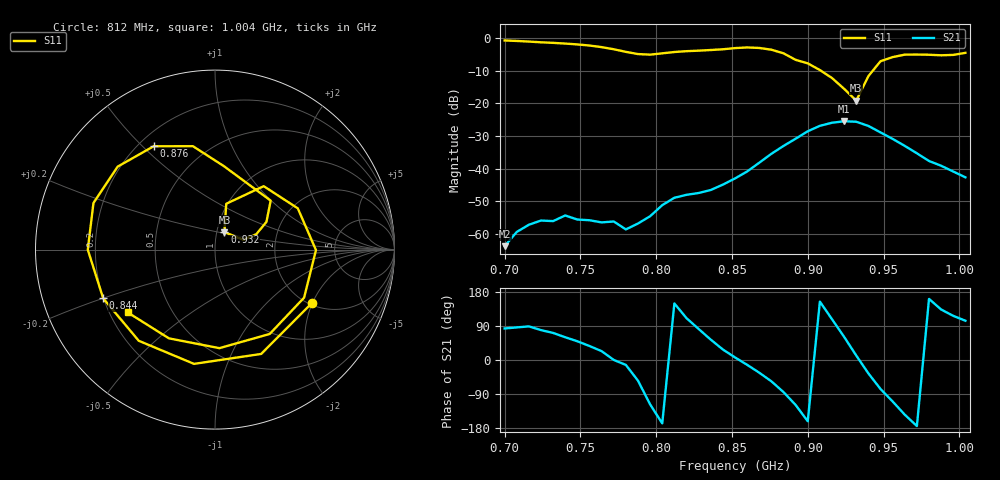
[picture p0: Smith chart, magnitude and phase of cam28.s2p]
# Hz S RI R 50
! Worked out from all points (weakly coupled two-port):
!   39 points, 700 MHz to 1.004 GHz, reference 50 ohm
!   highest |S21| = -25.47 dB at 924 MHz (marker M1); lowest = -63.9 dB at 700 MHz (marker M2)
!   lowest |S11| = -19.1 dB at 932 MHz (marker M3), VSWR 1.25, Z = 54.4 + j10.7 ohm
!   |S11| at or under -10 dB: 908.8 MHz to 942.8 MHz (33.95 MHz wide, 3.67 % of centre)
!   S12 and S22 are empty: the file has one direction only
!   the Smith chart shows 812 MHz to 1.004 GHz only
!   S11 on the Smith chart (normalised r, x): 812 MHz: 2.08, -1.99; 844 MHz: 0.20, -0.20; 876 MHz: 0.26, +0.54; 932 MHz: 1.09, +0.21; 1.004 GHz: 0.27, -0.30
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7e8  0.7645 0.5273  7.54e-05 0.000637  0 0  0 0
7.24e8  0.8316 -0.256  0.000306 0.00156  0 0  0 0
7.4e8  0.4462 -0.7018  0.00095 0.00165  0 0  0 0
7.56e8  -0.1952 -0.7514  0.00128 0.000965  0 0  0 0
7.72e8  -0.6522 -0.1925  0.00154 6.76e-06  0 0  0 0
7.8e8  -0.5777 0.2272  0.00113 -0.000261  0 0  0 0
7.88e8  -0.2267 0.5272  0.00083 -0.00117  0 0  0 0
7.96e8  0.2517 0.5028  -0.000845 -0.00165  0 0  0 0
8.04e8  0.5694 0.1503  -0.00267 -0.000603  0 0  0 0
8.12e8  0.5413 -0.2963  -0.00306 0.00182  0 0  0 0
8.28e8  -0.117 -0.6367  0.000593 0.00417  0 0  0 0
8.44e8  -0.623 -0.2713  0.00501 0.00263  0 0  0 0
8.52e8  -0.7088 -0.000551  0.00699 0.000842  0 0  0 0
8.76e8  -0.3421 0.5756  0.00936 -0.014  0 0  0 0
9e8  0.3102 0.2729  -0.0355 -0.0118  0 0  0 0
9.08e8  0.2867 0.1547  -0.0408 0.0199  0 0  0 0
9.24e8  0.1584 0.0547  0.0258 0.0466  0 0  0 0
9.32e8  0.0524 0.0974  0.0513 0.0106  0 0  0 0
9.48e8  0.2712 0.3534  0.00837 -0.0349  0 0  0 0
9.56e8  0.4612 0.2299  -0.00949 -0.0269  0 0  0 0
9.8e8  0.305 -0.4699  -0.0124 0.00421  0 0  0 0
1.004e9  -0.4864 -0.35  -0.00173 0.00712  0 0  0 0
